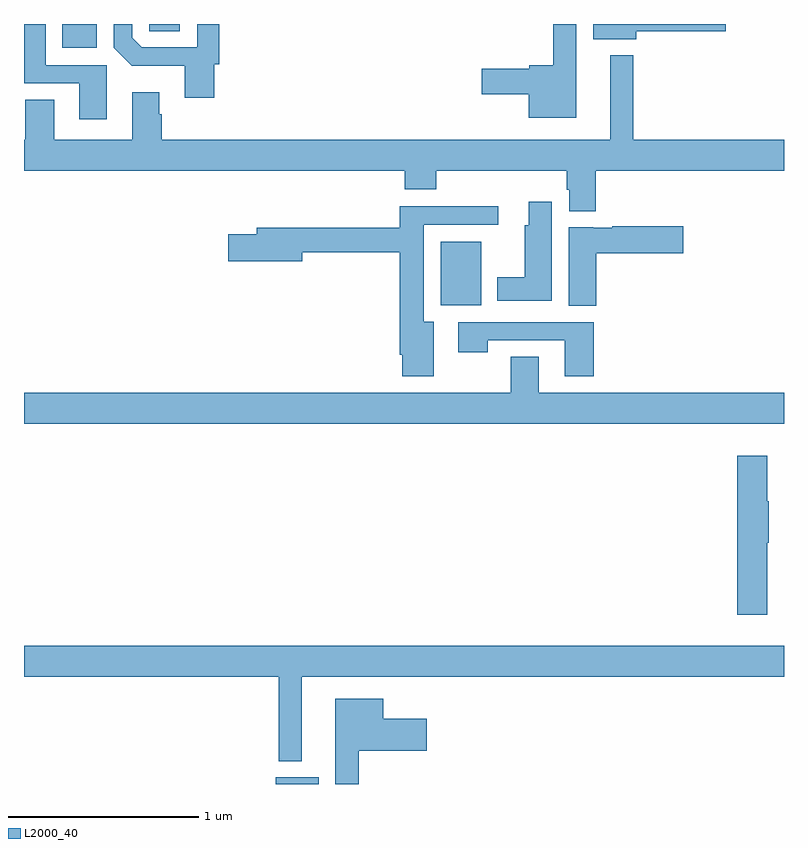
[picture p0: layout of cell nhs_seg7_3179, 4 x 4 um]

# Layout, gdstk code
import gdstk
lib = gdstk.Library(unit=1e-6, precision=1e-09)
def R(c, l, rs):  # rectangles x0, y0, x1, y1
    for r in rs: c.add(gdstk.rectangle(r[:2], r[2:], *l))
def P(c, l, *ps):  # polygons
    for p in ps: c.add(gdstk.Polygon(p, *l))
L2000_40 = (2000, 40)

nhs_seg7_3179 = lib.new_cell('nhs_seg7_3179')
R(nhs_seg7_3179, L2000_40, [(314.324,1052,314.551,1052.035), (315.194,1054.52,315.406,1054.855), (313.202,1055.876,313.384,1056), (313.659,1055.962,313.821,1056)])
P(nhs_seg7_3179, L2000_40, [(316.222,1055.963),(316.693,1055.963),(316.693,1056),(315.995,1056),(315.995,1055.921),(316.222,1055.921)],
  [(314,1055.787),(314.027,1055.787),(314.027,1056),(313.911,1056),(313.911,1055.877),(313.62,1055.877),(313.569,1055.928),(313.569,1056),(313.473,1056),(313.473,1055.874),(313.567,1055.78),(313.847,1055.78),(313.847,1055.613),(314,1055.613)],
  [(315.907,1056),(315.786,1056),(315.786,1055.783),(315.66,1055.783),(315.66,1055.765),(315.408,1055.765),(315.408,1055.63),(315.656,1055.63),(315.656,1055.507),(315.907,1055.507)],
  [(313.435,1055.784),(313.114,1055.784),(313.114,1056),(313,1056),(313,1055.687),(313.023,1055.687),(313.023,1055.688),(313.292,1055.688),(313.292,1055.499),(313.435,1055.499)],
  [(316.01,1055.228),(317,1055.228),(317,1055.392),(316.207,1055.392),(316.207,1055.836),(316.085,1055.836),(316.085,1055.392),(313.724,1055.392),(313.724,1055.525),(313.711,1055.525),(313.711,1055.641),(313.571,1055.641),(313.571,1055.392),(313.159,1055.392),(313.159,1055.602),(313.007,1055.602),(313.007,1055.392),(313,1055.392),(313,1055.228),(315.005,1055.228),(315.005,1055.129),(315.17,1055.129),(315.17,1055.228),(315.857,1055.228),(315.857,1055.127),(315.869,1055.127),(315.869,1055.015),(316.01,1055.015)],
  [(315.778,1055.065),(315.656,1055.065),(315.656,1054.941),(315.635,1054.941),(315.635,1054.666),(315.491,1054.666),(315.491,1054.544),(315.778,1054.544)],
  [(315.157,1054.432),(315.103,1054.432),(315.103,1054.944),(315.496,1054.944),(315.496,1055.042),(314.978,1055.042),(314.978,1054.927),(314.225,1054.927),(314.225,1054.893),(314.076,1054.893),(314.076,1054.751),(314.464,1054.751),(314.464,1054.798),(314.978,1054.798),(314.978,1054.258),(314.99,1054.258),(314.99,1054.146),(315.157,1054.146)],
  [(316.013,1054.793),(316.471,1054.793),(316.471,1054.935),(316.096,1054.935),(316.096,1054.927),(315.996,1054.927),(315.996,1054.93),(315.866,1054.93),(315.866,1054.516),(316.013,1054.516)],
  [(315.998,1054.431),(315.285,1054.431),(315.285,1054.272),(315.441,1054.272),(315.441,1054.335),(315.845,1054.335),(315.845,1054.146),(315.998,1054.146)],
  [(317,1054.06),(315.709,1054.06),(315.709,1054.25),(315.562,1054.25),(315.562,1054.06),(313,1054.06),(313,1053.896),(317,1053.896)],
  [(316.912,1053.271),(316.92,1053.271),(316.92,1053.488),(316.912,1053.488),(316.912,1053.727),(316.754,1053.727),(316.754,1052.892),(316.912,1052.892)],
  [(314.461,1052.564),(317,1052.564),(317,1052.728),(313,1052.728),(313,1052.564),(314.34,1052.564),(314.34,1052.12),(314.461,1052.12)],
  [(314.761,1052.174),(315.121,1052.174),(315.121,1052.344),(314.89,1052.344),(314.89,1052.449),(314.639,1052.449),(314.639,1052),(314.761,1052)])

lib.write_gds('nhs_seg7_3179.gds')
